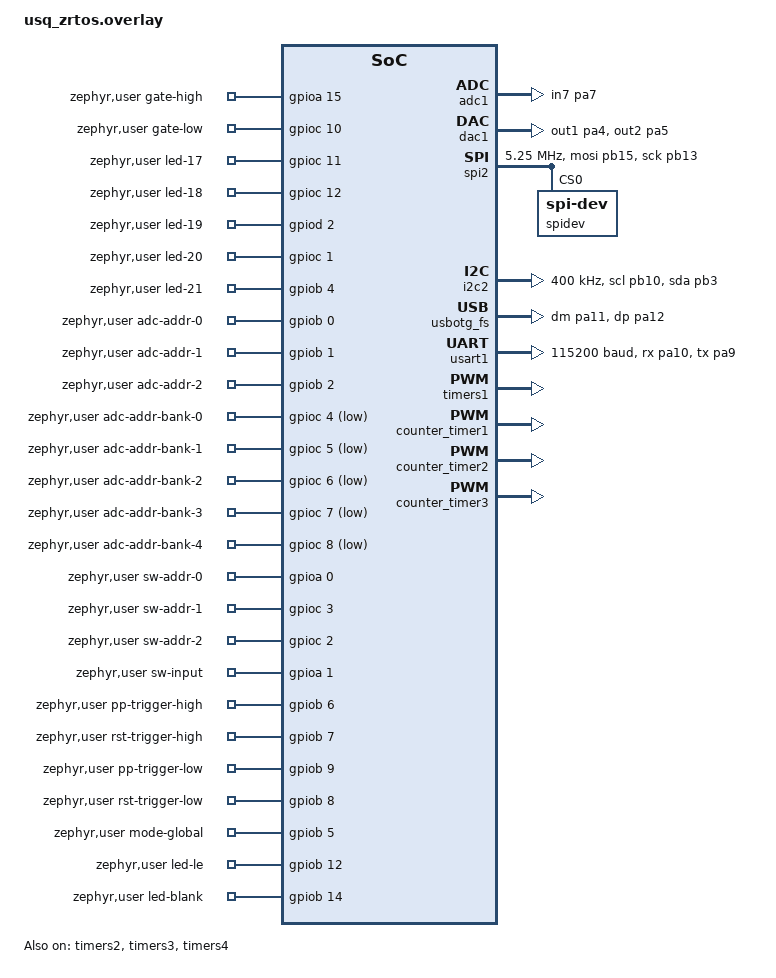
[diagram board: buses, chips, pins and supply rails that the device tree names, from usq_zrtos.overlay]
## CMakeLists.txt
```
# SPDX-License-Identifier: Apache-2.0

cmake_minimum_required(VERSION 3.20.0)

# Uncomment if you must specify the board here
set(BOARD nucleo_f446re)
# set(BOARD stm32f373rbt6)

set(DTC_OVERLAY_FILE "${CMAKE_CURRENT_SOURCE_DIR}/usq_zrtos.overlay")

find_package(Zephyr REQUIRED HINTS $ENV{ZEPHYR_BASE})

project(usq_zrtos)

# Explicitly list source files
set(app_sources
    src/button.c
    src/dac.c
    src/uart.c
    src/led.c
    src/main.c
    src/sequencer.c
    src/pot.c
    src/usb.c

    # Add other source files here
)

target_sources(app PRIVATE ${app_sources})

# Main Include Directory
target_include_directories(app PRIVATE include)
```

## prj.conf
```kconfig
#Development Configs

CONFIG_MAIN_STACK_SIZE=4095

CONFIG_SERIAL=y
CONFIG_CONSOLE=y
CONFIG_UART_CONSOLE=y
CONFIG_LOG=y
CONFIG_LOG_MODE_MINIMAL=y

CONFIG_PRINTK=y

CONFIG_REGULATOR=y

#Peripheral Configs
CONFIG_GPIO=y

CONFIG_COUNTER=y
CONFIG_COUNTER_TIMER_STM32=y

CONFIG_ADC=y
CONFIG_PWM=y
CONFIG_PWM_STM32=y

CONFIG_I2C=y
CONFIG_I2C_STM32=y
CONFIG_I2C_CALLBACK=y
CONFIG_I2C_STM32_INTERRUPT=y


#Transmission Configs
CONFIG_SPI=y
CONFIG_SPI_ASYNC=y
CONFIG_DAC=y
CONFIG_DMA=y
CONFIG_DMA_STM32=y


CONFIG_UART_STM32=y
CONFIG_CONSOLE_SUBSYS=y
CONFIG_UART_INTERRUPT_DRIVEN=y
CONFIG_UART_ASYNC_API=y

#Zephyr Specific Configs
CONFIG_MULTITHREADING=y
CONFIG_SMF=y
CONFIG_POLL=y
CONFIG_EVENTS=y

CONFIG_DEBUG=y
CONFIG_ASSERT=y

CONFIG_DEBUG_THREAD_INFO=y

CONFIG_USB_DEVICE_STACK=y
CONFIG_USB_CDC_ACM=y
CONFIG_USB_DEVICE_PRODUCT="USQ PC-1"
CONFIG_USB_DC_STM32=y
CONFIG_USB_DRIVER_LOG_LEVEL_ERR=y
CONFIG_USB_DEVICE_LOG_LEVEL_ERR=y

CONFIG_STDOUT_CONSOLE=y
CONFIG_UART_LINE_CTRL=y
```

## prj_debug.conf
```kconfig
#Development Configs

CONFIG_CONSOLE=y
CONFIG_PRINTK=y
CONFIG_UART_INTERRUPT_DRIVEN=y
CONFIG_REGULATOR=y

#Peripheral Configs
CONFIG_GPIO=y
CONFIG_COUNTER=y
# CONFIG_COUNTER_INIT_PRIORITY=50
CONFIG_COUNTER_TIMER_STM32=y
# CONFIG_COUNTER_RTC_STM32=y
CONFIG_ADC=y
CONFIG_PWM=y
# CONFIG_DMA=y

#Transmission Configs
CONFIG_SPI=y
CONFIG_SPI_STM32=y
# CONFIG_SPI_STM32_DMA=y
# CONFIG_SPI_STM32_USE_HW_SS=n
CONFIG_SPI_ASYNC=y
CONFIG_DAC=y


#Zephyr Specific Configs
CONFIG_MULTITHREADING=y
CONFIG_SMF=y
CONFIG_POLL=y
CONFIG_EVENTS=y


CONFIG_DEBUG=y
CONFIG_ASSERT=y
```

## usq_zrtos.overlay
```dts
/* USQ OVERLAY */

#include <dt-bindings/gpio/gpio.h>
#include <dt-bindings/spi/spi.h>
#include <dt-bindings/timer/stm32-timer.h>
#include <dt-bindings/dma/stm32_dma.h>
#include <dt-bindings/i2c/i2c.h>


/{
    zephyr,user {
        gate-high-gpios     =   <&gpioa 15 GPIO_ACTIVE_HIGH>;
        gate-low-gpios      =   <&gpioc 10 GPIO_ACTIVE_HIGH>;
        
        led-17-gpios        =   <&gpioc 11 GPIO_ACTIVE_HIGH>;
        led-18-gpios        =   <&gpioc 12 GPIO_ACTIVE_HIGH>;
        led-19-gpios        =   <&gpiod 2 GPIO_ACTIVE_HIGH>;
        led-20-gpios        =   <&gpioc 1 GPIO_ACTIVE_HIGH>;
        led-21-gpios        =   <&gpiob 4 GPIO_ACTIVE_HIGH>;
        
        adc-addr-0-gpios    =   <&gpiob 0 GPIO_ACTIVE_HIGH>;
        adc-addr-1-gpios    =   <&gpiob 1 GPIO_ACTIVE_HIGH>;
        adc-addr-2-gpios    =   <&gpiob 2 GPIO_ACTIVE_HIGH>;
        
        adc-addr-bank-0-gpios = <&gpioc 4 GPIO_ACTIVE_LOW>;
        adc-addr-bank-1-gpios = <&gpioc 5 GPIO_ACTIVE_LOW>;
        adc-addr-bank-2-gpios = <&gpioc 6 GPIO_ACTIVE_LOW>;
        adc-addr-bank-3-gpios = <&gpioc 7 GPIO_ACTIVE_LOW>;
        adc-addr-bank-4-gpios = <&gpioc 8 GPIO_ACTIVE_LOW>;
        
        sw-addr-0-gpios     =   <&gpioa 0 GPIO_ACTIVE_HIGH>;
        sw-addr-1-gpios     =   <&gpioc 3 GPIO_ACTIVE_HIGH>;
        sw-addr-2-gpios     =   <&gpioc 2 GPIO_ACTIVE_HIGH>;
        
        sw-input-gpios      =   <&gpioa 1 GPIO_PULL_UP>;
        
        pp-trigger-high-gpios = <&gpiob 6 GPIO_PULL_DOWN>;
        rst-trigger-high-gpios = <&gpiob 7 GPIO_PULL_DOWN>;
        pp-trigger-low-gpios = <&gpiob 9 GPIO_PULL_DOWN>;
        rst-trigger-low-gpios = <&gpiob 8 GPIO_PULL_DOWN>;
        
        mode-global-gpios = <&gpiob 5 GPIO_PULL_DOWN>;
        
        led-le-gpios = <&gpiob 12 GPIO_PULL_DOWN>;
        led-blank-gpios = <&gpiob 14 GPIO_PULL_DOWN>;
    };

    chosen {
        zephyr,console = &usart1;
        zephyr,shell-uart = &usart1;
        zephyr,uart-mcumgr = &usart1;
    };
};

/**************************************** 
 * Disable Nucleo pins for btn and led */

&leds {
    status = "disabled"; 
};

&user_button {
    status = "disabled";
};

/**************************************/


// &flash0 {
//     usq_storage_partition: partition@C000 {
//         label = "nvs_storage";
//         reg = <0x0 0x0800C000 DT_SIZE_K(80)>;
//     };
// };



&clk_hse {
	/delete-property/ hse-bypass;
};


/* Highest possible values to get a precise 48MHz clock for the USB on PLLQ. We could get the clock to 180MHz if we could derive the USB clock from the PLLSAIP, but Zephyr doesn't yet support this. If we need these extra MHz revisit this, for now probably ok. */
&pll {
    div-m = <8>;
    mul-n = <336>;
    div-p = <2>;
    div-q = <7>;
    clocks = <&clk_hse>;
    status = "okay";
};


&rcc {
    clocks = <&pll>;
    clock-frequency = <DT_FREQ_M(168)>;
    ahb-prescaler = <1>;
    apb1-prescaler = <4>; 
    apb2-prescaler = <2>;
};


&adc1 {
    pinctrl-0 = <&adc1_in7_pa7>;  
    pinctrl-names = "default";
    st,adc-prescaler = <2>;
    status = "okay";  
};


&dac1 {
    pinctrl-0 = <&dac_out1_pa4 &dac_out2_pa5>;  
    pinctrl-names = "default";
    status = "okay";  
};


&can1 {
    status = "disabled";
};

&can2 {
    status = "disabled";
};

&spi1 {
    status = "disabled";
};


&spi2 {
    // compatible = "st,stm32-spi";
    status = "okay"; 
    pinctrl-0 = <&spi2_mosi_pb15 &spi2_sck_pb13>;
    pinctrl-names = "default";
    clock-frequency = <5250000>; // 5.25 MHz
    label = "SPI2";
    dmas = <&dma1 4 0 0x20040 0x03>; /* DMA1 Stream4 Channel3 for TX */
    dma-names = "tx";
    spidev: spi-dev@0 {
        compatible = "zephyr,spi-dev";
        reg = <0>;
    };
}; 

&i2c1 {
    status = "disabled";
};

&i2c2 {
    compatible = "st,stm32-i2c-v1";
    pinctrl-0 = <&i2c2_scl_pb10 &i2c2_sda_pb3>;
    pinctrl-names = "default";
    clock-frequency = <400000>; // 400 kHz
    dmas =  <&dma1 2 7 0x20480 0x03>, /* RX, DMA1 Stream 2 Channel 7, High priority, Byte size, Memory increment */
            <&dma1 7 7 0x20440 0x03>; /* TX, DMA1 Stream 7 Channel 7, High priority, Byte size, Memory increment */
    dma-names = "rx", "tx";
    status = "okay";
};

&i2c3 {
    status = "disabled";
};

&i2s2 {
    status = "disabled";
};

&usbotg_fs {
	pinctrl-0 = <&usb_otg_fs_dm_pa11 &usb_otg_fs_dp_pa12>; //&usb_otg_fs_id_pa10
	pinctrl-names = "default";
	status = "okay";
    cdc_acm_uart0 {
		compatible = "zephyr,cdc-acm-uart";
	};
};

&usbotg_hs {
    status = "disabled";
};

&usart1 {
    compatible = "st,stm32-uart";
    pinctrl-0 = <&usart1_rx_pa10 &usart1_tx_pa9>;
    pinctrl-names = "default";
    current-speed = <115200>;
    status = "okay"; 
};


&dma1 {
    status="okay";
};

&dma2 {
    compatible = "st,stm32-dma-v1";
    status="okay";
};


// TIMER 1 with PWM
&timers1 {
    status = "okay"; 
    led_pwm: pwm {
        compatible = "st,stm32-pwm";
        status = "okay";
        pinctrl-0 = <&tim1_ch1_pa8>;
        pinctrl-names = "default";
        #pwm-cells = <3>;
    };
};


&timers2 {
    status = "okay";
    st,prescaler = <9599>;
    st,countermode = <0>; 
    compatible = "st,stm32-timers";
    counter_timer1: counter {
        compatible = "st,stm32-counter";
        status = "okay";
    };
};

&timers3 {
    status = "okay";
    st,prescaler = <9599>;
    st,countermode = <0>;
    compatible = "st,stm32-timers";
    counter_timer2: counter {
        compatible = "st,stm32-counter";
        status = "okay";
    };
};

//Timer 4 for LED Driver Blank Pin Counter
&timers4 {
    status = "okay";
    st,prescaler = <90>; // 90MHz -> 1MHz
    st,countermode = <0>;
    compatible = "st,stm32-timers";
    counter_timer3: counter {
        compatible = "st,stm32-counter";
        status = "okay";
    };
};
```

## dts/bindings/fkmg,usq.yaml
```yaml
description: FKMG USQ PC-1 Device Tree Definition

compatible: "fkmg,usq"

properties:
  gen-gpios:
    type: phandle-array
    required: false
    description: Handles all GPIOs for USQ PC-1 App
```

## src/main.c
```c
/* *****************************************************************************
 * Includes
 */

#include <zephyr/kernel.h>
#include <zephyr/drivers/gpio.h>
#include <zephyr/drivers/counter.h>
#include <zephyr/device.h>
#include <zephyr/devicetree.h>
#include <zephyr/drivers/clock_control/stm32_clock_control.h>
#include <stm32f4xx.h>
#include <stm32f4xx_ll_rcc.h>

#include <assert.h>
#include <string.h>

#include "main.h"
#include <zephyr/logging/log.h>

#include "dac.h"
#include "dac/private/sm_evt.h"

#include "led.h"
#include "led/private/sm_evt.h"

#include "pot.h"
#include "pot/id.h"
#include "pot/private/sm_evt.h"

#include "sequencer.h"
#include "sequencer/private/sm_evt.h"

#include "uart.h"
#include "uart/private/sm_evt.h"

#include "button.h"
#include "button/private/sm_evt.h"

#include "usb.h"
#include "usb/private/sm_evt.h"



/* *****************************************************************************
 * Defines
 */

/* Error if took longer than this to initialize. */
#define WAIT_MAX_MSECS_FOR_INITIALIZATION 50

#define PLLSAICFGR_OFFSET       0x88
#define RCC_PLLSAICFGR          *(volatile uint32_t*)(RCC_BASE + PLLSAICFGR_OFFSET)
#define DCKCFGR2_OFFSET         0x94
#define RCC_DCKCFGR2            *(volatile uint32_t*)(RCC_BASE + DCKCFGR2_OFFSET)
#define CR_OFFSET               0x00
#define RCC_CR                  *(volatile uint32_t*)(RCC_BASE + CR_OFFSET)
#define AHB2ENR_OFFSET          0x34
#define RCC_AHB2ENR             *(volatile uint32_t*)(RCC_BASE + AHB2ENR_OFFSET)


LOG_MODULE_REGISTER(main);

/* *****************************************************************************
 * Threads
 */

/* Declare threads, queues, and other data structures for pot instance. */
static struct k_thread pot_thread;
#define POT_THREAD_STACK_SZ_BYTES   1024
K_THREAD_STACK_DEFINE(pot_thread_stack, POT_THREAD_STACK_SZ_BYTES);
#define MAX_QUEUED_POT_SM_EVTS  10
#define POT_SM_QUEUE_ALIGNMENT  4
K_MSGQ_DEFINE(pot_sm_evt_q, sizeof(struct Pot_SM_Evt),
        MAX_QUEUED_POT_SM_EVTS, POT_SM_QUEUE_ALIGNMENT);
static struct Pot_Instance pot_inst;

/* Declare threads, queues, and other data structures for DAC instance. */
static struct k_thread dac_thread;
#define DAC_THREAD_STACK_SZ_BYTES   1024
K_THREAD_STACK_DEFINE(dac_thread_stack, DAC_THREAD_STACK_SZ_BYTES);
#define MAX_QUEUED_DAC_SM_EVTS  10
#define DAC_SM_QUEUE_ALIGNMENT  4
K_MSGQ_DEFINE(dac_sm_evt_q, sizeof(struct DAC_SM_Evt),
        MAX_QUEUED_DAC_SM_EVTS, DAC_SM_QUEUE_ALIGNMENT);
static struct DAC_Instance dac_inst;

/* Declare threads, queues, and other data structures for Sequencer instance. */
static struct k_thread sequencer_thread;
#define SEQUENCER_THREAD_STACK_SZ_BYTES   1024
K_THREAD_STACK_DEFINE(sequencer_thread_stack, SEQUENCER_THREAD_STACK_SZ_BYTES);
#define MAX_QUEUED_SEQUENCER_SM_EVTS  10
#define SEQUENCER_SM_QUEUE_ALIGNMENT  4
K_MSGQ_DEFINE(sequencer_sm_evt_q, sizeof(struct Sequencer_SM_Evt),
        MAX_QUEUED_SEQUENCER_SM_EVTS, SEQUENCER_SM_QUEUE_ALIGNMENT);
static struct Sequencer_Instance sequencer_inst;

/* Declare threads, queues, and other data structures for LED Driver instance. */
static struct k_thread led_driver_thread;
#define LED_DRIVER_THREAD_STACK_SZ_BYTES   1024
K_THREAD_STACK_DEFINE(led_driver_thread_stack, LED_DRIVER_THREAD_STACK_SZ_BYTES);
#define MAX_QUEUED_LED_DRIVER_SM_EVTS  10
#define LED_DRIVER_SM_QUEUE_ALIGNMENT  4
K_MSGQ_DEFINE(led_driver_sm_evt_q, sizeof(struct LED_Driver_SM_Evt),
        MAX_QUEUED_LED_DRIVER_SM_EVTS, LED_DRIVER_SM_QUEUE_ALIGNMENT);
static struct LED_Driver_Instance led_driver_inst;

/* Declare threads, queues, and other data structures for UART / MIDI instance. */
static struct k_thread uart_thread;
#define UART_THREAD_STACK_SZ_BYTES   1024
K_THREAD_STACK_DEFINE(uart_thread_stack, UART_THREAD_STACK_SZ_BYTES);
#define MAX_QUEUED_UART_SM_EVTS  10
#define UART_SM_QUEUE_ALIGNMENT  4
K_MSGQ_DEFINE(uart_sm_evt_q, sizeof(struct UART_SM_Evt),
        MAX_QUEUED_UART_SM_EVTS, UART_SM_QUEUE_ALIGNMENT);
static struct UART_Instance uart_inst;

/* Declare threads, queues, and other data structures for Button instance. */
static struct k_thread button_thread;
#define BUTTON_THREAD_STACK_SZ_BYTES   1024
K_THREAD_STACK_DEFINE(button_thread_stack, BUTTON_THREAD_STACK_SZ_BYTES);
#define MAX_QUEUED_BUTTON_SM_EVTS  10
#define BUTTON_SM_QUEUE_ALIGNMENT  4
K_MSGQ_DEFINE(button_sm_evt_q, sizeof(struct Button_SM_Evt),
        MAX_QUEUED_BUTTON_SM_EVTS, BUTTON_SM_QUEUE_ALIGNMENT);
static struct Button_Instance button_inst;

/* Declare threads, queues, and other data structures for USB instance. */
static struct k_thread usb_thread;
#define USB_THREAD_STACK_SZ_BYTES   1024
K_THREAD_STACK_DEFINE(usb_thread_stack, USB_THREAD_STACK_SZ_BYTES);
#define MAX_QUEUED_USB_SM_EVTS  10
#define USB_SM_QUEUE_ALIGNMENT  4
K_MSGQ_DEFINE(usb_sm_evt_q, sizeof(struct USB_SM_Evt),
        MAX_QUEUED_USB_SM_EVTS, USB_SM_QUEUE_ALIGNMENT);
static struct USB_Instance usb_inst;


/* *****************************************************************************
 * Listeners
 */

#if 0
static struct Pot_Listener midi_rcvd_listener;
#endif


/* *****************************************************************************
 * Kernel Events
 *
 * Zephyr low-overhead kernel way for threads to wait on and post asynchronous
 * events.
 */

/* For handling asynchronous callbacks. */
K_EVENT_DEFINE(events);
#define EVT_FLAG_INSTANCE_INITIALIZED   (1 << 0)



/* *****************************************************************************
 * Private Functions.
 */

/* ********************
 * ON INSTANCE INITS
 * ********************/

static void on_pot_instance_initialized(struct Pot_Evt *p_evt)
{
    assert(p_evt->sig == k_Pot_Evt_Sig_Instance_Initialized);
    assert(p_evt->data.initd.p_inst == &pot_inst);
	k_event_post(&events, EVT_FLAG_INSTANCE_INITIALIZED);
}

static void on_dac_instance_initialized(struct DAC_Evt *p_evt)
{
    assert(p_evt->sig == k_DAC_Evt_Sig_Instance_Initialized);
    assert(p_evt->data.initd.p_inst == &dac_inst);
	k_event_post(&events, EVT_FLAG_INSTANCE_INITIALIZED);
}

static void on_sequencer_instance_initialized(struct Sequencer_Evt *p_evt)
{
    assert(p_evt->sig == k_Seq_Evt_Sig_Instance_Initialized);
    assert(p_evt->data.initd.p_inst == &sequencer_inst);
	k_event_post(&events, EVT_FLAG_INSTANCE_INITIALIZED);
}

static void on_led_driver_instance_initialized(struct LED_Driver_Evt *p_evt)
{
    assert(p_evt->sig == k_LED_Driver_Evt_Sig_Instance_Initialized);
    assert(p_evt->data.initd.p_inst == &led_driver_inst);
	k_event_post(&events, EVT_FLAG_INSTANCE_INITIALIZED);
}

static void on_uart_instance_initialized(struct UART_Evt *p_evt)
{
    assert(p_evt->sig == k_UART_Evt_Sig_Instance_Initialized);
    assert(p_evt->data.initd.p_inst == &uart_inst);
	k_event_post(&events, EVT_FLAG_INSTANCE_INITIALIZED);
}

static void on_button_instance_initialized(struct Button_Evt *p_evt)
{
    assert(p_evt->sig == k_Button_Evt_Sig_Instance_Initialized);
    assert(p_evt->data.initd.p_inst == &button_inst);
	k_event_post(&events, EVT_FLAG_INSTANCE_INITIALIZED);
}

static void on_usb_instance_initialized(struct USB_Evt *p_evt)
{
    assert(p_evt->sig == k_USB_Evt_Sig_Instance_Initialized);
    assert(p_evt->data.initd.p_inst == &usb_inst);
	k_event_post(&events, EVT_FLAG_INSTANCE_INITIALIZED);
}

static void wait_on_instance_initialized(void)
{
	uint32_t events_rcvd = k_event_wait(&events, EVT_FLAG_INSTANCE_INITIALIZED,
		true, K_MSEC(WAIT_MAX_MSECS_FOR_INITIALIZATION));
	assert(events_rcvd == EVT_FLAG_INSTANCE_INITIALIZED);
}


/* *****************************************************************************
 * Listener Events
 */


/* ********************
 * On Pot Change
 * ********************/

static void on_pot_changed(struct Pot_Evt *p_evt)
{
    assert(p_evt->sig == k_Pot_Evt_Sig_Changed);

    struct Sequencer_SM_Evt_Sig_Pot_Value_Changed * p_changed = (struct Sequencer_SM_Evt_Sig_Pot_Value_Changed *)&p_evt->data.changed;

    struct Sequencer_SM_Evt seq_evt = {
        .sig = k_Seq_SM_Evt_Sig_Pot_Value_Changed,
        .data.pot_changed = *p_changed
    }; 

    k_msgq_put(&sequencer_sm_evt_q, &seq_evt, K_NO_WAIT);
}


/* ***********************
 * On LED Ready to Write
 * ***********************/
static void on_led_write_ready(struct LED_Driver_Evt *p_evt) 
{
    assert(p_evt->sig == k_Seq_Evt_Sig_Reset_LED);

    struct LED_Driver_SM_Evt evt = {
            .sig = k_LED_Driver_SM_Evt_LED_Driver_Reset_LED,
            .data.reset.channel = p_evt->data.write.channel,
            .data.reset.step = p_evt->data.write.step,
            .data.reset.offset = p_evt->data.write.offset,
            .data.reset.val = p_evt->data.write.val
    }; 

    k_msgq_put(&led_driver_sm_evt_q, &evt, K_NO_WAIT); 
}


/* ********************
 * On Button Press 
 * ********************/

#define SEQ_STATE_MODE_SEL  2

static void on_button_press (struct Button_Evt *p_evt) 
{
    assert(p_evt->sig == k_Button_Evt_Sig_Pressed);
    struct Sequencer_Instance * p_inst = &sequencer_inst;

    if (p_inst->seq.state == SEQ_STATE_MODE_SEL) {
        struct Sequencer_SM_Evt seq_evt = {
            .sig = k_Seq_SM_Evt_Sig_Button_Pressed,
            .data.pressed.btn_id = p_evt->data.pressed.btn_id
        };

        k_msgq_put(&sequencer_sm_evt_q, &seq_evt, K_NO_WAIT);

    } else {
        // calculate the channel which we can do by checking if the button value is less than the offset. If it is less than it is 0, otherwise 1. 
        int ch = p_evt->data.pressed.btn_id < p_inst->seq.offset ? 0 : 1;
        
        if (p_inst->seq.shift){
            int temp = p_evt->data.pressed.btn_id + 1  - (ch * p_inst->seq.offset);
            if (temp <=0) {
                p_inst->seq.maxStep[ch] = 1;
            } else {
                p_inst->seq.maxStep[ch] = temp;
            }
            LOG_INF("Max Step: %d", p_inst->seq.maxStep[ch]); 
            
        } else {
            // Toggle the active state of the button in the sequencer instance
            p_inst->seq.active[p_evt->data.pressed.btn_id] = !p_inst->seq.active[p_evt->data.pressed.btn_id];
            
            struct LED_Driver_SM_Evt led_evt = {
                .sig = k_LED_Driver_SM_Evt_Change_Default_Levels,
                .data.def_lvl.btn_id = p_evt->data.pressed.btn_id,
                .data.def_lvl.offset = p_inst->seq.offset,
                .data.def_lvl.armed = p_inst->seq.active[p_evt->data.pressed.btn_id],
                .data.def_lvl.step = p_inst->seq.step[ch],
                .data.def_lvl.edge = p_inst->seq.edge[ch]
            };

            k_msgq_put(&led_driver_sm_evt_q, &led_evt, K_NO_WAIT);
        }
    }
}



/* *****************************************************************************
 * Public.
 */

   int main (void) {

     /* Instance: LED Driver */
    struct LED_Driver_Instance_Cfg led_driver_inst_cfg = {
        .p_inst = &led_driver_inst,
        .task.sm.p_thread = &led_driver_thread,
        .task.sm.p_stack = led_driver_thread_stack,
        .task.sm.stack_sz = K_THREAD_STACK_SIZEOF(led_driver_thread_stack),
        .task.sm.prio = K_LOWEST_APPLICATION_THREAD_PRIO,
        .msgq.p_sm_evts = &led_driver_sm_evt_q,
        .cb = on_led_driver_instance_initialized,
    };
    LED_Driver_Init_Instance(&led_driver_inst_cfg);
    wait_on_instance_initialized();

    led_startup_animation(1000);


    /* Instance: DAC */
    struct DAC_Instance_Cfg dac_inst_cfg = {
        .p_inst = &dac_inst,
        .task.sm.p_thread = &dac_thread,
        .task.sm.p_stack = dac_thread_stack,
        .task.sm.stack_sz = K_THREAD_STACK_SIZEOF(dac_thread_stack),
        .task.sm.prio = K_LOWEST_APPLICATION_THREAD_PRIO,
        .msgq.p_sm_evts = &dac_sm_evt_q,
        .cb = on_dac_instance_initialized,
    };
    DAC_Init_Instance(&dac_inst_cfg);
    wait_on_instance_initialized();


     /* Instance: Button Module */
    struct Button_Instance_Cfg button_inst_cfg = {
        .p_inst = &button_inst,
        .task.sm.p_thread = &button_thread,
        .task.sm.p_stack = button_thread_stack,
        .task.sm.stack_sz = K_THREAD_STACK_SIZEOF(button_thread_stack),
        .task.sm.prio = K_LOWEST_APPLICATION_THREAD_PRIO,
        .msgq.p_sm_evts = &button_sm_evt_q,
        .cb = on_button_instance_initialized,
    };
    Button_Init_Instance(&button_inst_cfg);
    wait_on_instance_initialized();

    static struct Button_Listener button_press_lsnr;
    struct Button_Listener_Cfg button_press_lsnr_cfg = {
        .p_inst = &button_inst,
        .p_lsnr = &button_press_lsnr, 
        .sig     = k_Button_Evt_Sig_Pressed,
        .cb      = on_button_press
    };
    Button_Add_Listener(&button_press_lsnr_cfg);

     /* Instance: UART Module */
    struct UART_Instance_Cfg uart_inst_cfg = {
        .p_inst = &uart_inst,
        .task.sm.p_thread = &uart_thread,
        .task.sm.p_stack = uart_thread_stack,
        .task.sm.stack_sz = K_THREAD_STACK_SIZEOF(uart_thread_stack),
        .task.sm.prio = K_LOWEST_APPLICATION_THREAD_PRIO,
        .msgq.p_sm_evts = &uart_sm_evt_q,
        .cb = on_uart_instance_initialized,
    };
    UART_Init_Instance(&uart_inst_cfg);
    wait_on_instance_initialized();

     /* Instance: USB Module */
    struct USB_Instance_Cfg usb_inst_cfg = {
        .p_inst = &usb_inst,
        .task.sm.p_thread = &usb_thread,
        .task.sm.p_stack = &usb_thread_stack,
        .task.sm.stack_sz = K_THREAD_STACK_SIZEOF(usb_thread_stack),
        .task.sm.prio = K_LOWEST_APPLICATION_THREAD_PRIO,
        .msgq.p_sm_evts = &usb_sm_evt_q,
        .cb = on_usb_instance_initialized,
    };
    USB_Init_Instance(&usb_inst_cfg);
    wait_on_instance_initialized();

    // /* Instance: Pot */
    struct Pot_Instance_Cfg pot_inst_cfg = {
        .p_inst = &pot_inst,
        .task.sm.p_thread = &pot_thread,
        .task.sm.p_stack = pot_thread_stack,
        .task.sm.stack_sz = K_THREAD_STACK_SIZEOF(pot_thread_stack),
        .task.sm.prio = K_LOWEST_APPLICATION_THREAD_PRIO,
        .msgq.p_sm_evts = &pot_sm_evt_q,
        .cb = on_pot_instance_initialized,
    };
    Pot_Init_Instance(&pot_inst_cfg);
    wait_on_instance_initialized();

    static struct Pot_Listener pot_changed_lsnr;
    struct Pot_Listener_Cfg pot_lsnr_cfg = {
        .p_inst = &pot_inst,
        .p_lsnr = &pot_changed_lsnr, 
        .sig     = k_Pot_Evt_Sig_Changed,
        .cb      = on_pot_changed
    };
    Pot_Add_Listener(&pot_lsnr_cfg);
    
    /* Instance: Sequencer */
    struct Sequencer_Instance_Cfg sequencer_inst_cfg = {
        .p_inst = &sequencer_inst,
        .task.sm.p_thread = &sequencer_thread,
        .task.sm.p_stack = sequencer_thread_stack,
        .task.sm.stack_sz = K_THREAD_STACK_SIZEOF(sequencer_thread_stack),
        .task.sm.prio = K_LOWEST_APPLICATION_THREAD_PRIO,
        .msgq.p_sm_evts = &sequencer_sm_evt_q,
        .cb = on_sequencer_instance_initialized,
    };
    Sequencer_Init_Instance(&sequencer_inst_cfg);
    wait_on_instance_initialized();
    

    static struct Sequencer_Listener led_write_lsnr;
    struct Sequencer_Listener_Cfg led_write_lsnr_cfg = {
        .p_inst = &sequencer_inst,
        .p_lsnr = &led_write_lsnr, 
        .sig     = k_Seq_Evt_Sig_Reset_LED,
        .cb      = on_led_write_ready
    };
    Sequencer_Add_Listener(&led_write_lsnr_cfg);

};



    // static struct Sequencer_Listener midi_write_lsnr;
    // struct Sequencer_Listener_Cfg midi_write_lsnr_cfg = {
    //     .p_inst = &sequencer_inst,
    //     .p_lsnr = &midi_write_lsnr, 
    //     .sig     = k_UART_Evt_Sig_Write_Ready,
    //     .cb      = on_midi_write_ready
    // };
    // Sequencer_Add_Listener(&midi_write_lsnr_cfg);


     /* Instance: UART Module */
    // struct UART_Instance_Cfg uart_inst_cfg = {
    //     .p_inst = &uart_inst,
    //     .task.sm.p_thread = &uart_thread,
    //     .task.sm.p_stack = uart_thread_stack,
    //     .task.sm.stack_sz = K_THREAD_STACK_SIZEOF(uart_thread_stack),
    //     .task.sm.prio = K_LOWEST_APPLICATION_THREAD_PRIO,
    //     .msgq.p_sm_evts = &uart_sm_evt_q,
    //     .cb = on_uart_instance_initialized,
    // };
    // UART_Init_Instance(&uart_inst_cfg);
    // wait_on_instance_initialized();

    // static struct UART_Listener uart_rx_lsnr;
    // struct UART_Listener_Cfg uart_rx_lsnr_cfg = {
    //     .p_inst = &uart_inst,
    //     .p_lsnr = &uart_rx_lsnr, 
    //     .sig     = k_UART_Evt_Sig_RX_Ready,
    //     .cb      = on_uart_rx_ready
    // };
    // UART_Add_Listener(&uart_rx_lsnr_cfg);
```

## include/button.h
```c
/*******************************************************************************
 * @brief Button Thread.
 *
 * This module is the public api to interface with buttons. 
 *
 * @example
 */

#ifndef FKMG_BUTTON_H
#define FKMG_BUTTON_H

/* In case C++ needs to use anything here */
#ifdef __cplusplus
extern “C” {
#endif

/* *****************************************************************************
 * Includes
 */

#include <zephyr/kernel.h>

#include "button/instance.h"
#include "button/instance_cfg.h"
#include "button/listener.h"
#include "button/listener_cfg.h"


/* *****************************************************************************
 * Defines
 */

#define MCP23017_ADDR           0x20

#define CONFIG_BUTTON_8_BIT_MODE    1

#if CONFIG_BUTTON_8_BIT_MODE

    #define MCP23017_IODIRA     0x00        // I/O direction register for port A
    #define MCP23017_IODIRB     0x01        // I/O direction register for port B
    #define MCP23017_IPOLA      0x02        // Input polarity port register A
    #define MCP23017_IPOLB      0x03        // Input polarity port register B
    #define MCP23017_GPINTENA   0x04        // Interrupt-on-change control register for port A
    #define MCP23017_GPINTENB   0x05        // Interrupt-on-change control register for port B
    #define MCP23017_DEFVALA    0x06        // Default value for port A
    #define MCP23017_DEFVALB    0x07        // Default value for port B
    #define MCP23017_INTCONA    0x08        // Interrupt control register for port A
    #define MCP23017_INTCONB    0x09        // Interrupt control register for port B
    #define MCP23017_IOCONA     0x0A        // IOCON register
    #define MCP23017_IOCONB     0x0B        // IOCON register
    #define MCP23017_GPPUA      0x0C        // Pull-up resistor register for port A
    #define MCP23017_GPPUB      0x0D        // Pull-up resistor register for port B
    #define MCP23017_INTFA      0x0E        // Interrupt condition register for port A
    #define MCP23017_INTFB      0x0F        // Interrupt condition register for port B
    #define MCP23017_INTCAPA    0x10        // Interrupt capture register for port A
    #define MCP23017_INTCAPB    0x11        // Interrupt capture register for port B
    #define MCP23017_GPIOA      0x12        // GPIO register for port A
    #define MCP23017_GPIOB      0x13        // GPIO register for port B
    #define MCP23017_OLATA      0x14        // Output latch register for port A
    #define MCP23017_OLATB      0x15        // Output latch register for port B

#else // in 16-bit Mode

    #define MCP23017_IODIRA     0x00        // I/O direction register for port A
    #define MCP23017_IOPOLA     0x01        // Input polarity port register A
    #define MCP23017_GPINTENA   0x02        // Interrupt-on-change control register for port A
    #define MCP23017_DEFVALA    0x03        // Default value for port A
    #define MCP23017_INTCONA    0x04        // Interrupt control register for port A
    #define MCP23017_IOCON      0x05        // IOCON register
    #define MCP23017_GPPUA      0x06        // Pull-up resistor register for port A
    #define MCP23017_INTFA      0x07        // Interrupt condition register for port A
    #define MCP23017_INTCAPA    0x08        // Interrupt capture register for port A
    #define MCP23017_GPIOA      0x09        // GPIO register for port A
    #define MCP23017_OLATA      0x0A        // Output latch register for port A
    #define MCP23017_IODIRB     0x10        // I/O direction register for port B
    #define MCP23017_IOPOLB     0x11        // Input polarity port register B
    #define MCP23017_GPINTENB   0x12        // Interrupt-on-change control register for port B
    #define MCP23017_DEFVALB    0x13        // Default value for port B
    #define MCP23017_INTCONB    0x14        // Interrupt control register for port B
    #define MCP23017_IOCON      0x15        // IOCON register
    #define MCP23017_GPPUB      0x16        // Pull-up resistor register for port B
    #define MCP23017_INTFB      0x17        // Interrupt condition register for port B
    #define MCP23017_INTCAPB    0x18        // Interrupt capture register for port B
    #define MCP23017_GPIOB      0x19        // GPIO register for port B
    #define MCP23017_OLATB      0x1A        // Output latch register for port B

#endif

#define CONFIG_ALL_OUTPUTS      0x00
#define CONFIG_ALL_INPUTS       0xFF

#define CONFIG_ALL_POL_NORM     0x00
#define CONFIG_ALL_POL_INV      0xFF

#define CONFIG_ALL_PULLDOWN     0x00
#define CONFIG_ALL_PULLUP       0xFF

#define CONFIG_INT_ON_CHG_DIS   0x00
#define CONFIG_INT_ON_CHG_EN    0xFF

#define CONFIG_DEFVAL_ALL_0     0x00
#define CONFIG_DEFVAL_ALL_1     0xFF

#define CONFIG_INTCON_ALL_PREV  0x00
#define CONFIG_INTCON_ALL_DEFV  0xFF

#define CONFIG_IOCON_INTPOL     (1U<<1)
#define CONFIG_IOCON_ODR        (1U<<2)
#define CONFIG_IOCON_HAEN       (1U<<3)
#define CONFIG_IOCON_DISSLW     (1U<<4)
#define CONFIG_IOCON_SEQOP      (1U<<5)
#define CONFIG_IOCON_MIRROR     (1U<<6)
#define CONFIG_IOCON_BANK       (1U<<7)


/* *****************************************************************************
 * Public
 */

/* NOTE: all callbacks must be handled in a timely manner since the callbacks
 * occur on the thread of this engine. */

/**
 * Initialize an instance. An instance contains everything required to declare
 * and define all the data/memory for threads, queues, etc., that runs the the
 * engine. Even though it might be possible to have multiple instances,
 * typically only one is required.
 * @param[in] p_cfg Pointer to the filled-in configuration struct. See the
 * struct for details.
 */
void Button_Init_Instance(struct Button_Instance_Cfg * p_cfg);


/**
 * Deinitialize an instance.
 * @param[in] p_dcfg Pointer to the filled-in deconfiguration struct. See the
 * struct for details.
 */
#if CONFIG_FKMG_BUTTON_ALLOW_SHUTDOWN
void Button_Deinit_Instance(struct Button_Instance_Dcfg * p_dcfg);
#endif

/**
 * Add an event signal listener to an interface.
 * @param[in] p_cfg Pointer to the filled-in configuration struct. See the
 * struct for details.
 */
void Button_Add_Listener(struct Button_Listener_Cfg * p_cfg);

#if CONFIG_FKMG_BUTTON_ALLOW_LISTENER_REMOVAL
void Button_Remove_Listener(struct Button_Listener * p_lsnr);
#endif

/* Public API functions to consider:
 *
 */
#ifdef __cplusplus
}
#endif

#endif /* FKMG_BUTTON_H */
```

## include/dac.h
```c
/*******************************************************************************
 * @brief DAC Thread.
 *
 * This module is the public api to interface with the dac. 
 *
 * @example
 */

#ifndef FKMG_DAC_H
#define FKMG_DAC_H

/* In case C++ needs to use anything here */
#ifdef __cplusplus
extern “C” {
#endif

/* *****************************************************************************
 * Includes
 */

#include <zephyr/kernel.h>

#include "dac/instance.h"
#include "dac/instance_cfg.h"
#include "dac/listener.h"
#include "dac/listener_cfg.h"

/* *****************************************************************************
 * Public
 */

/* NOTE: all callbacks must be handled in a timely manner since the callbacks
 * occur on the thread of this engine. */

/**
 * Initialize an instance. An instance contains everything required to declare
 * and define all the data/memory for threads, queues, etc., that runs the the
 * engine. Even though it might be possible to have multiple instances,
 * typically only one is required.
 * @param[in] p_cfg Pointer to the filled-in configuration struct. See the
 * struct for details.
 */
void DAC_Init_Instance(struct DAC_Instance_Cfg * p_cfg);

void dac_write_new_value(uint8_t ch, uint32_t val); 

/**
 * Deinitialize an instance.
 * @param[in] p_dcfg Pointer to the filled-in deconfiguration struct. See the
 * struct for details.
 */
#if CONFIG_FKMG_DAC_ALLOW_SHUTDOWN
void DAC_Deinit_Instance(struct DAC_Instance_Dcfg * p_dcfg);
#endif

/**
 * Add an event signal listener to an interface.
 * @param[in] p_cfg Pointer to the filled-in configuration struct. See the
 * struct for details.
 */
void DAC_Add_Listener(struct DAC_Listener_Cfg * p_cfg);

#if CONFIG_FKMG_DAC_ALLOW_LISTENER_REMOVAL
void DAC_Remove_Listener(struct DAC_Listener * p_lsnr);
#endif

/* Public API functions to consider:
 *
 */
#ifdef __cplusplus
}
#endif

#endif /* FKMG_DAC_H */
```

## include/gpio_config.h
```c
#ifndef GPIOCONFIG_H
#define GPIOCONFIG_H

#include <zephyr/kernel.h>

void gpio_config_thread (void * p1, void * p2, void * p3); 
extern struct A_Object gpio_config_task;
extern struct A_Object_Cfg gpio_config_task_cfg;

extern const struct gpio_dt_spec seq_gate_high;
extern const struct gpio_dt_spec seq_gate_low; 
extern const struct gpio_dt_spec play_led_high; 
extern const struct gpio_dt_spec reset_led_high; 
extern const struct gpio_dt_spec play_led_low; 
extern const struct gpio_dt_spec reset_led_low; 
extern const struct gpio_dt_spec mode_led; 
extern const struct gpio_dt_spec adc_address_0; 
extern const struct gpio_dt_spec adc_address_1; 
extern const struct gpio_dt_spec adc_address_2; 
extern const struct gpio_dt_spec sw_address_0; 
extern const struct gpio_dt_spec sw_address_1; 
extern const struct gpio_dt_spec sw_address_2; 
extern const struct gpio_dt_spec adc_bank_0; 
extern const struct gpio_dt_spec adc_bank_1; 
extern const struct gpio_dt_spec adc_bank_2; 
extern const struct gpio_dt_spec adc_bank_3; 
extern const struct gpio_dt_spec adc_bank_4; 
extern const struct gpio_dt_spec sw_bank_0; 
extern const struct gpio_dt_spec sw_bank_1; 

#endif
```

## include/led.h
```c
/*******************************************************************************
 * @brief Potentiometer interface.
 *
 * This module is the public api to interface with potentiometers. The pots are
 * ...
 *
 * @example
 */

#ifndef FKMG_LED_DRIVER_H
#define FKMG_LED_DRIVER_H

/* In case C++ needs to use anything here */
#ifdef __cplusplus
extern “C” {
#endif

/* *****************************************************************************
 * Includes
 */

#include <zephyr/kernel.h>

#include "led/instance.h"
#include "led/instance_cfg.h"
#include "led/listener.h"
#include "led/listener_cfg.h"

/* *****************************************************************************
 * Public
 */

/* NOTE: all callbacks must be handled in a timely manner since the callbacks
 * occur on the thread of this engine. */

/**
 * Initialize an instance. An instance contains everything required to declare
 * and define all the data/memory for threads, queues, etc., that runs the the
 * engine. Even though it might be possible to have multiple instances,
 * typically only one is required.
 * @param[in] p_cfg Pointer to the filled-in configuration struct. See the
 * struct for details.
 */
void LED_Driver_Init_Instance(struct LED_Driver_Instance_Cfg * p_cfg);

void write_led_data_to_spi(bool channel, uint16_t step, uint16_t offset, uint16_t value);

enum LED_STATE {
    LED_DISARM,     // 0
    LED_ARM,        // 1
    LED_STEP,       // 2
    LED_MODE        // 3
};


/**
 * Deinitialize an instance.
 * @param[in] p_dcfg Pointer to the filled-in deconfiguration struct. See the
 * struct for details.
 */
#if CONFIG_FKMG_LED_DRIVER_ALLOW_SHUTDOWN
void LED_Driver_Deinit_Instance(struct LED_Driver_Instance_Dcfg * p_dcfg);
#endif

/**
 * Add an event signal listener to an interface.
 * @param[in] p_cfg Pointer to the filled-in configuration struct. See the
 * struct for details.
 */
void LED_Driver_Add_Listener(struct LED_Driver_Listener_Cfg * p_cfg);

#if CONFIG_FKMG_LED_DRIVER_ALLOW_LISTENER_REMOVAL
void LED_Driver_Remove_Listener(struct LED_Driver_Listener * p_lsnr);
#endif

/* Public API functions to consider:
 *
 */
#ifdef __cplusplus
}
#endif

#endif /* FKMG_LED_DRIVER_H */
```

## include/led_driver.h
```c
/*******************************************************************************
 * @brief Potentiometer interface.
 *
 * This module is the public api to interface with potentiometers. The pots are
 * ...
 *
 * @example
 */

#ifndef FKMG_LED_DRIVER_H
#define FKMG_LED_DRIVER_H

/* In case C++ needs to use anything here */
#ifdef __cplusplus
extern “C” {
#endif

/* *****************************************************************************
 * Includes
 */

#include <zephyr/kernel.h>

#include "led_driver/instance.h"
#include "led_driver/instance_cfg.h"
#include "led_driver/listener.h"
#include "led_driver/listener_cfg.h"

/* *****************************************************************************
 * Public
 */

/* NOTE: all callbacks must be handled in a timely manner since the callbacks
 * occur on the thread of this engine. */

/**
 * Initialize an instance. An instance contains everything required to declare
 * and define all the data/memory for threads, queues, etc., that runs the the
 * engine. Even though it might be possible to have multiple instances,
 * typically only one is required.
 * @param[in] p_cfg Pointer to the filled-in configuration struct. See the
 * struct for details.
 */
void LED_Driver_Init_Instance(struct LED_Driver_Instance_Cfg * p_cfg);

void write_led_data_to_spi(bool channel, uint16_t step, uint16_t offset, uint16_t value);


/**
 * Deinitialize an instance.
 * @param[in] p_dcfg Pointer to the filled-in deconfiguration struct. See the
 * struct for details.
 */
#if CONFIG_FKMG_LED_DRIVER_ALLOW_SHUTDOWN
void LED_Driver_Deinit_Instance(struct LED_Driver_Instance_Dcfg * p_dcfg);
#endif

/**
 * Add an event signal listener to an interface.
 * @param[in] p_cfg Pointer to the filled-in configuration struct. See the
 * struct for details.
 */
void LED_Driver_Add_Listener(struct LED_Driver_Listener_Cfg * p_cfg);

#if CONFIG_FKMG_LED_DRIVER_ALLOW_LISTENER_REMOVAL
void LED_Driver_Remove_Listener(struct LED_Driver_Listener * p_lsnr);
#endif

/* Public API functions to consider:
 *
 */
#ifdef __cplusplus
}
#endif

#endif /* FKMG_LED_DRIVER_H */
```

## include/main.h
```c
#ifndef MAIN_H
#define MAIN_H

#include <zephyr/kernel.h>
#include <zephyr/smf.h>




#endif
```

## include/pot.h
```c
/*******************************************************************************
 * @brief Potentiometer interface.
 *
 * This module is the public api to interface with potentiometers. The pots are
 * ...
 *
 * @example
 */

#ifndef FKMG_POT_H
#define FKMG_POT_H

/* In case C++ needs to use anything here */
#ifdef __cplusplus
extern “C” {
#endif

/* *****************************************************************************
 * Includes
 */

#include <zephyr/kernel.h>

#include "pot/instance.h"
#include "pot/instance_cfg.h"
#include "pot/listener.h"
#include "pot/listener_cfg.h"

/* *****************************************************************************
 * Public
 */

/* NOTE: all callbacks must be handled in a timely manner since the callbacks
 * occur on the thread of this engine. */

/**
 * Initialize an instance. An instance contains everything required to declare
 * and define all the data/memory for threads, queues, etc., that runs the the
 * engine. Even though it might be possible to have multiple instances,
 * typically only one is required.
 * @param[in] p_cfg Pointer to the filled-in configuration struct. See the
 * struct for details.
 */
void Pot_Init_Instance(struct Pot_Instance_Cfg * p_cfg);

/**
 * Deinitialize an instance.
 * @param[in] p_dcfg Pointer to the filled-in deconfiguration struct. See the
 * struct for details.
 */
#if CONFIG_FKMG_POT_ALLOW_SHUTDOWN
void Pot_Deinit_Instance(struct Pot_Instance_Dcfg * p_dcfg);
#endif

/**
 * Add an event signal listener to an interface.
 * @param[in] p_cfg Pointer to the filled-in configuration struct. See the
 * struct for details.
 */
void Pot_Add_Listener(struct Pot_Listener_Cfg * p_cfg);

#if CONFIG_FKMG_POT_ALLOW_LISTENER_REMOVAL
void Pot_Remove_Listener(struct Pot_Listener * p_lsnr);
#endif

/* Public API functions to consider:
 *
 * Get_Pot(pot id): get the last read value of the specified pot. Do not read
 *   the adc! This is useful for getting the initial value of a pot at startup
 *   etc., without having to wait for a conversion.
 *
 * Force_Pot_Change_Evt(pot id): force event with signal k_Pot_Sig_Changed to
 *   occur. Value isn't changed; it is a way to force an event if asynchronous
 *   listeners need current value.
 */



#ifdef __cplusplus
}
#endif

#endif /* FKMG_POT_H */
```

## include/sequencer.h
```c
/*******************************************************************************
 * @brief Sequencer interface.
 *
 * This module is the public api to interface with the main Sequencer. 
 * The Sequencer oversees pot changes, sends dac write commands and handles timing of steps. 
 *
 * @example
 */

#ifndef FKMG_SEQUENCER_H
#define FKMG_SEQUENCER_H

/* In case C++ needs to use anything here */
#ifdef __cplusplus
extern “C” {
#endif

/* *****************************************************************************
 * Includes
 */

#include <zephyr/kernel.h>

#include "sequencer/instance.h"
#include "sequencer/instance_cfg.h"
#include "sequencer/listener.h"
#include "sequencer/listener_cfg.h"

/* *****************************************************************************
 * Public
 */

/* NOTE: all callbacks must be handled in a timely manner since the callbacks
 * occur on the thread of this engine. */

/**
 * Initialize an instance. An instance contains everything required to declare
 * and define all the data/memory for threads, queues, etc., that runs the the
 * engine. Even though it might be possible to have multiple instances,
 * typically only one is required.
 * @param[in] p_cfg Pointer to the filled-in configuration struct. See the
 * struct for details.
 */
void Sequencer_Init_Instance(struct Sequencer_Instance_Cfg * p_cfg);

// static void on_pot_change_ext(struct Sequencer_Evt *p_evt); 
/**
 * Deinitialize an instance.
 * @param[in] p_dcfg Pointer to the filled-in deconfiguration struct. See the
 * struct for details.
 */
#if CONFIG_FKMG_SEQ_ALLOW_SHUTDOWN
void Sequencer_Deinit_Instance(struct Sequencer_Instance_Dcfg * p_dcfg);
#endif

/**
 * Add an event signal listener to an interface.
 * @param[in] p_cfg Pointer to the filled-in configuration struct. See the
 * struct for details.
 */
void Sequencer_Add_Listener(struct Sequencer_Listener_Cfg * p_cfg);

#if CONFIG_FKMG_SEQ_ALLOW_LISTENER_REMOVAL
void Sequencer_Remove_Listener(struct Sequencer_Listener * p_lsnr);
#endif


/* Public API functions to consider:
 *
 */
#ifdef __cplusplus
}
#endif

#endif /* FKMG_SEQUENCER_H */
```

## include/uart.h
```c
/*******************************************************************************
 * @brief UART interface.
 *
 * This module is the public api to interface with UART.
 *
 * @example
 */

#ifndef FKMG_UART_H
#define FKMG_UART_H

/* In case C++ needs to use anything here */
#ifdef __cplusplus
extern “C” {
#endif

/* *****************************************************************************
 * Includes
 */

#include <zephyr/kernel.h>

#include "uart/instance.h"
#include "uart/instance_cfg.h"
#include "uart/listener.h"
#include "uart/listener_cfg.h"

/* *****************************************************************************
 * Public
 */

/* NOTE: all callbacks must be handled in a timely manner since the callbacks
 * occur on the thread of this engine. */

/**
 * Initialize an instance. An instance contains everything required to declare
 * and define all the data/memory for threads, queues, etc., that runs the the
 * engine. Even though it might be possible to have multiple instances,
 * typically only one is required.
 * @param[in] p_cfg Pointer to the filled-in configuration struct. See the
 * struct for details.
 */
void UART_Init_Instance(struct UART_Instance_Cfg * p_cfg);

/**
 * Deinitialize an instance.
 * @param[in] p_dcfg Pointer to the filled-in deconfiguration struct. See the
 * struct for details.
 */
#if CONFIG_FKMG_UART_ALLOW_SHUTDOWN
void UART_Deinit_Instance(struct UART_Instance_Dcfg * p_dcfg);
#endif

/**
 * Add an event signal listener to an interface.
 * @param[in] p_cfg Pointer to the filled-in configuration struct. See the
 * struct for details.
 */
void UART_Add_Listener(struct UART_Listener_Cfg * p_cfg);

#if CONFIG_FKMG_UART_ALLOW_LISTENER_REMOVAL
void UART_Remove_Listener(struct UART_Listener * p_lsnr);
#endif

/* Public API functions to consider:
 *
 */
#ifdef __cplusplus
}
#endif

#endif /* FKMG_UART_H */
```

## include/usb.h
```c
/*******************************************************************************
 * @brief USB Thread.
 *
 * This module is the public api to interface with USB. 
 *
 * @example
 */

#ifndef FKMG_USB_H
#define FKMG_USB_H

/* In case C++ needs to use anything here */
#ifdef __cplusplus
extern “C” {
#endif

/* *****************************************************************************
 * Includes
 */

#include <zephyr/kernel.h>

#include "usb/instance.h"
#include "usb/instance_cfg.h"
#include "usb/listener.h"
#include "usb/listener_cfg.h"


/* *****************************************************************************
 * Defines
 */


/* *****************************************************************************
 * Public
 */

/* NOTE: all callbacks must be handled in a timely manner since the callbacks
 * occur on the thread of this engine. */

/**
 * Initialize an instance. An instance contains everything required to declare
 * and define all the data/memory for threads, queues, etc., that runs the the
 * engine. Even though it might be possible to have multiple instances,
 * typically only one is required.
 * @param[in] p_cfg Pointer to the filled-in configuration struct. See the
 * struct for details.
 */
void USB_Init_Instance(struct USB_Instance_Cfg * p_cfg);


/**
 * Deinitialize an instance.
 * @param[in] p_dcfg Pointer to the filled-in deconfiguration struct. See the
 * struct for details.
 */
#if CONFIG_FKMG_USB_ALLOW_SHUTDOWN
void USB_Deinit_Instance(struct USB_Instance_Dcfg * p_dcfg);
#endif

/**
 * Add an event signal listener to an interface.
 * @param[in] p_cfg Pointer to the filled-in configuration struct. See the
 * struct for details.
 */
void USB_Add_Listener(struct USB_Listener_Cfg * p_cfg);

#if CONFIG_FKMG_USB_ALLOW_LISTENER_REMOVAL
void USB_Remove_Listener(struct USB_Listener * p_lsnr);
#endif

/* Public API functions to consider:
 *
 */
#ifdef __cplusplus
}
#endif

#endif /* FKMG_USB_H */
```

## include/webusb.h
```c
/*
 * Copyright (c) 2015-2019 Intel Corporation
 *
 * SPDX-License-Identifier: Apache-2.0
 */

/**
 * @file
 * @brief WebUSB enabled custom class driver header file
 *
 * Header file for WebUSB enabled custom class driver
 */

#ifndef __WEBUSB_SERIAL_H__
#define __WEBUSB_SERIAL_H__

/**
 * WebUSB request handlers
 */
struct webusb_req_handlers {
	/* Handler for WebUSB Vendor specific commands */
	usb_request_handler vendor_handler;
	/**
	 * The custom request handler gets a first chance at handling
	 * the request before it is handed over to the 'chapter 9' request
	 * handler
	 */
	usb_request_handler custom_handler;
};

/**
 * @brief Register Custom and Vendor request callbacks
 *
 * Function to register Custom and Vendor request callbacks
 * for handling requests.
 *
 * @param [in] handlers Pointer to WebUSB request handlers structure
 */
void webusb_register_request_handlers(struct webusb_req_handlers *handlers);

#endif /* __WEBUSB_SERIAL_H__ */
```
